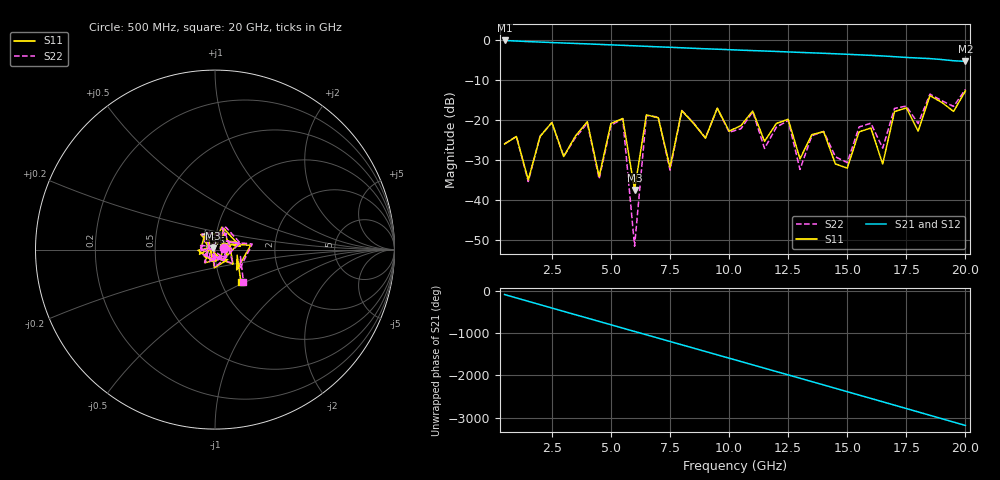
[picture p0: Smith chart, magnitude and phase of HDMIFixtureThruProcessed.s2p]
! File created by SignalIntegrity v1.1.5: Signal and Power Integrity Tools
! https://github.com/TeledyneLeCroy/SignalIntegrity
# MHz MA S R 50.0
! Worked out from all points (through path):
!   40 points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, 500 MHz to 20 GHz, reference 50 ohm
!   highest |S21| = -0.14 dB at 500 MHz (marker M1); lowest = -5.4 dB at 20 GHz (marker M2)
!   lowest |S11| = -37.5 dB at 6 GHz (marker M3), VSWR 1.03, Z = 49.1 + j0.92 ohm
!   |S11| at or under -10 dB: start of sweep to end of sweep
!   |S22| runs from -51.6 to -12.4 dB; largest |S21 - S12| = 0.0039
!   S11 on the Smith chart (normalised r, x): 500 MHz: 1.10, +0.03; 5.5 GHz: 0.88, +0.15; 20 GHz: 1.24, -0.47
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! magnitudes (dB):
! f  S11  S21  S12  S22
! 500 MHz  -26.0  -0.1  -0.2  -26.0
! 1.5 GHz  -35.1  -0.4  -0.4  -35.4
! 2.5 GHz  -20.6  -0.7  -0.7  -20.7
! 3 GHz  -29.2  -0.8  -0.8  -29.1
! 4 GHz  -20.5  -1.0  -1.0  -20.8
! 4.5 GHz  -34.2  -1.1  -1.2  -34.8
! 5.5 GHz  -19.7  -1.4  -1.4  -19.7
! 6 GHz  -37.5  -1.5  -1.5  -51.6
! 6.5 GHz  -18.8  -1.6  -1.6  -18.9
! 7 GHz  -19.5  -1.7  -1.8  -19.3
! 7.5 GHz  -31.9  -1.8  -1.9  -32.6
! 8 GHz  -17.7  -2.0  -2.0  -17.7
! 10.5 GHz  -21.4  -2.6  -2.6  -22.2
! 12.5 GHz  -19.9  -3.0  -3.0  -20.2
! 13 GHz  -29.8  -3.1  -3.1  -32.4
! 13.5 GHz  -23.7  -3.2  -3.2  -24.0
! 15 GHz  -32.1  -3.6  -3.6  -30.7
! 16 GHz  -22.1  -3.9  -3.9  -20.8
! 16.5 GHz  -31.1  -4.0  -4.0  -27.1
! 17 GHz  -17.9  -4.2  -4.2  -17.1
! 18 GHz  -22.8  -4.5  -4.5  -20.9
! 20 GHz  -12.8  -5.4  -5.4  -12.4
